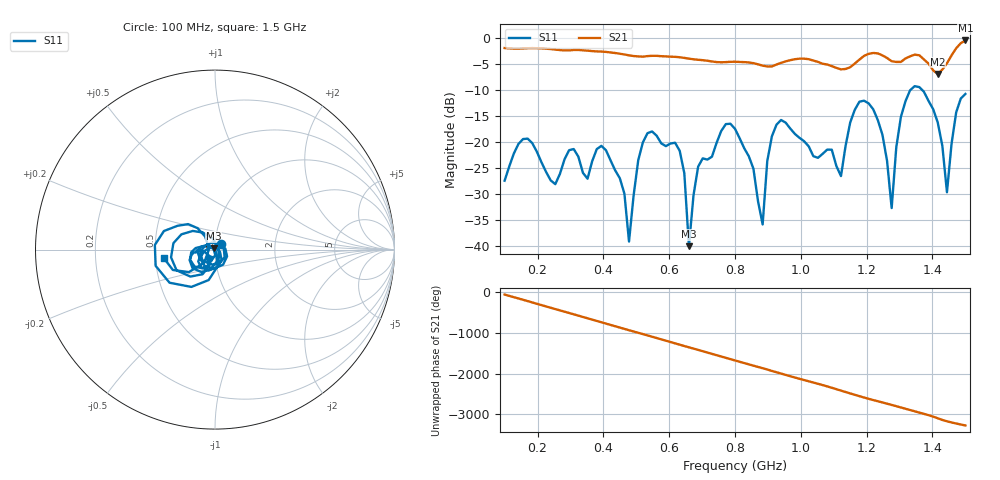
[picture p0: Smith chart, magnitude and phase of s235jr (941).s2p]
! NanoVNA-App
! Date: 2025-09-25 15:11:29
! Start: 100MHz Stop: 1,5GHz Points: 101
! S-Parameter data: F S11 S21 S12 S22
# Hz S RI R 50
!  Frequency  S11_Real  S11_Imag  S21_Real  S21_Imag  S12_Real  S12_Imag  S22_Real  S22_Imag
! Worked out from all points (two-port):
!   101 points, 100 MHz to 1.5 GHz, reference 50 ohm
!   highest |S21| = -0.51 dB at 1.5 GHz (marker M1); lowest = -7.0 dB at 1.416 GHz (marker M2)
!   |S21| within 3 dB of the highest: start of sweep to 492.6 MHz; 1.191 GHz to 1.252 GHz (60.22 MHz wide, 4.93 % of centre) (the widest 2 of 5)
!   lowest |S11| = -40.1 dB at 660 MHz (marker M3), VSWR 1.02, Z = 49.2 + j0.625 ohm
!   |S11| at or under -10 dB: start of sweep to 1.333 GHz; 1.368 GHz to end of sweep
!   S12 and S22 are empty: the file has one direction only
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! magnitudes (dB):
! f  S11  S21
! 100 MHz  -27.5  -2.0
! 156 MHz  -19.5  -2.1
! 338 MHz  -26.0  -2.4
! 408 MHz  -21.6  -2.7
! 478 MHz  -39.2  -3.4
! 520 MHz  -20.1  -3.6
! 576 MHz  -20.3  -3.5
! 632 MHz  -21.7  -3.7
! 660 MHz  -40.1  -4.0
! 688 MHz  -24.8  -4.2
! 800 MHz  -17.5  -4.6
! 884 MHz  -35.9  -5.4
! 926 MHz  -16.7  -5.1
! 1.038 GHz  -22.8  -4.4
! 1.122 GHz  -26.6  -6.1
! 1.206 GHz  -12.6  -3.1
! 1.276 GHz  -32.7  -4.5
! 1.304 GHz  -15.2  -4.6
! 1.332 GHz  -10.1  -3.6
! 1.416 GHz  -16.3  -7.0
! 1.444 GHz  -29.7  -4.9
! 1.5 GHz  -10.8  -0.5
